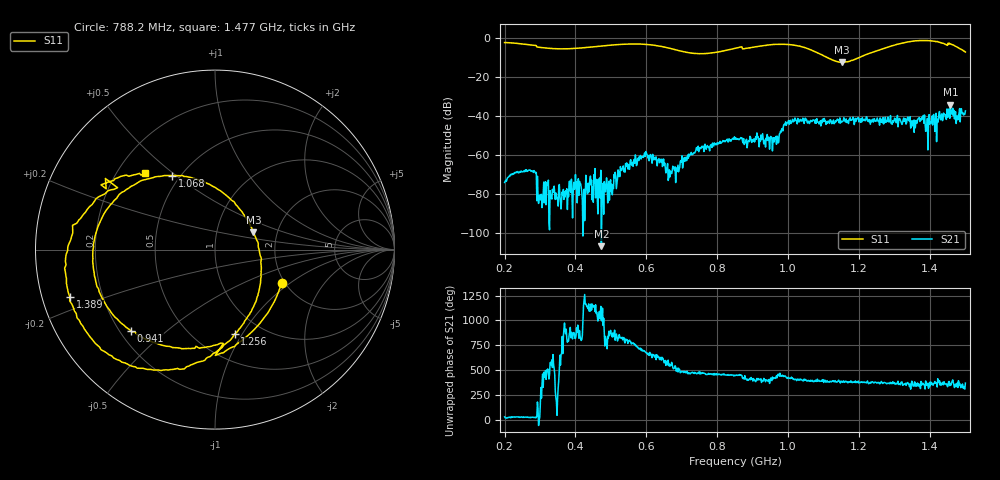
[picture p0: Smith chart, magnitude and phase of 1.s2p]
! NanoVNA-App
! Date: 2024-06-25 16:52:35
! Start: 200MHz Stop: 1.5GHz Points: 801
! S-Parameter data: F S11 S21 S12 S22
# Hz S RI R 50
!  Frequency  S11_Real  S11_Imag  S21_Real  S21_Imag  S12_Real  S12_Imag  S22_Real  S22_Imag
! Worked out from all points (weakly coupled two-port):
!   801 points, 200 MHz to 1.5 GHz, reference 50 ohm
!   highest |S21| = -34.22 dB at 1.458 GHz (marker M1); lowest = -106.9 dB at 473 MHz (marker M2)
!   lowest |S11| = -12.6 dB at 1.152 GHz (marker M3), VSWR 1.61, Z = 75.4 + j15.2 ohm
!   |S11| at or under -10 dB: 1.109 GHz to 1.202 GHz (92.5 MHz wide, 8.01 % of centre)
!   S12 and S22 are empty: the file has one direction only
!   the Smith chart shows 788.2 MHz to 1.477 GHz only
!   S11 on the Smith chart (normalised r, x): 788.2 MHz: 1.93, -0.86; 941 MHz: 0.24, -0.38; 1.068 GHz: 0.45, +0.48; 1.256 GHz: 0.75, -0.93; 1.389 GHz: 0.08, -0.16; 1.477 GHz: 0.32, +0.40
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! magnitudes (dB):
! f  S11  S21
! 200 MHz  -2.4  -74.2
! 273.1 MHz  -3.6  -68.1
! 300.8 MHz  -4.9  -83.2
! 417.8 MHz  -5.1  -79.3
! 473 MHz  -4.2  -106.9
! 593.2 MHz  -3.3  -60.5
! 633.9 MHz  -4.1  -62.3
! 668 MHz  -5.5  -68.4
! 788.2 MHz  -7.6  -55.1
! 850 MHz  -5.4  -51.9
! 941 MHz  -3.7  -49.6
! 967 MHz  -3.3  -54.6
! 994.6 MHz  -3.3  -44.9
! 1.068 GHz  -6.4  -42.9
! 1.152 GHz  -12.6  -43.1
! 1.256 GHz  -6.3  -42.3
! 1.284 GHz  -4.6  -43.2
! 1.375 GHz  -1.4  -41.4
! 1.389 GHz  -1.4  -44.7
! 1.458 GHz  -3.1  -34.2
! 1.477 GHz  -4.8  -40.2
! 1.5 GHz  -7.3  -37.5
